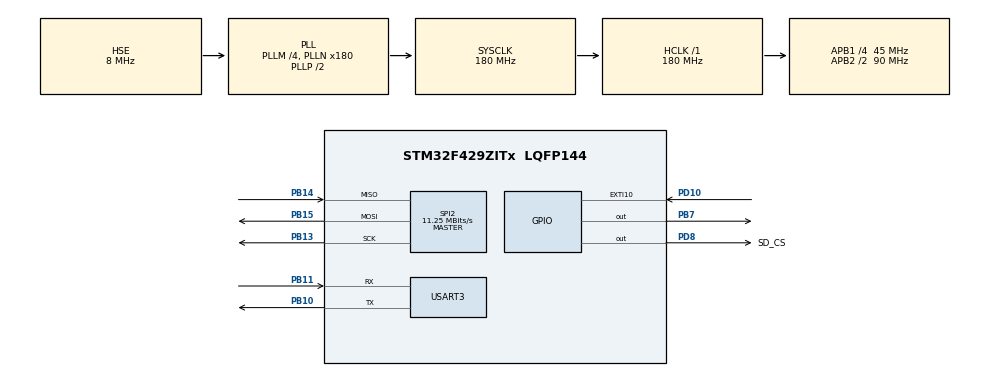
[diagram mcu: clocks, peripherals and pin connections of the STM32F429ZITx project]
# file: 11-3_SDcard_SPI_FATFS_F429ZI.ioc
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FATFS._MAX_SS=4096
FATFS._USE_LFN=1
Mcu.Family=STM32F4
Mcu.Name=STM32F429ZITx
Mcu.Package=LQFP144
NVIC.EXTI15_10_IRQn=true\:0\:0\:false\:false\:true\:true\:true
NVIC.PriorityGroup=NVIC_PRIORITYGROUP_4
NVIC.TIM7_IRQn=true\:0\:0\:false\:false\:true\:true\:true
NVIC.USART3_IRQn=true\:0\:0\:false\:false\:true\:true\:true
PB10.Mode=Asynchronous
PB10.Signal=USART3_TX
PB11.Mode=Asynchronous
PB11.Signal=USART3_RX
PB13.Mode=Full_Duplex_Master
PB13.Signal=SPI2_SCK
PB14.Mode=Full_Duplex_Master
PB14.Signal=SPI2_MISO
PB15.Mode=Full_Duplex_Master
PB15.Signal=SPI2_MOSI
PB7.Signal=GPIO_Output
PD10.GPIO_PuPd=GPIO_PULLUP
PD10.Signal=GPXTI10
PD8.GPIO_Label=SD_CS
PD8.GPIO_Speed=GPIO_SPEED_FREQ_MEDIUM
PD8.PinState=GPIO_PIN_SET
PD8.Signal=GPIO_Output
PH0/OSC_IN.Mode=HSE-External-Oscillator
PH0/OSC_IN.Signal=RCC_OSC_IN
PH1/OSC_OUT.Mode=HSE-External-Oscillator
PH1/OSC_OUT.Signal=RCC_OSC_OUT
ProjectManager.HeapSize=0x200
ProjectManager.StackSize=0x400
ProjectManager.TargetToolchain=STM32CubeIDE
RCC.48MHZClocksFreq_Value=45000000
RCC.AHBFreq_Value=180000000
RCC.APB1CLKDivider=RCC_HCLK_DIV4
RCC.APB1Freq_Value=45000000
RCC.APB1TimFreq_Value=90000000
RCC.APB2CLKDivider=RCC_HCLK_DIV2
RCC.APB2Freq_Value=90000000
RCC.APB2TimFreq_Value=180000000
RCC.CortexFreq_Value=180000000
RCC.HCLKFreq_Value=180000000
RCC.HSE_VALUE=8000000
RCC.HSI_VALUE=16000000
RCC.LSE_VALUE=32768
RCC.PLLM=4
RCC.PLLN=180
RCC.PLLQ=8
RCC.PLLSourceVirtual=RCC_PLLSOURCE_HSE
RCC.SYSCLKFreq_VALUE=180000000
RCC.SYSCLKSource=RCC_SYSCLKSOURCE_PLLCLK
RCC.VCOOutputFreq_Value=360000000
SPI2.BaudRatePrescaler=SPI_BAUDRATEPRESCALER_4
SPI2.CLKPolarity=SPI_POLARITY_LOW
SPI2.CalculateBaudRate=11.25 MBits/s
SPI2.Direction=SPI_DIRECTION_2LINES
SPI2.Mode=SPI_MODE_MASTER
SPI2.VirtualType=VM_MASTER
TIM7.AutoReloadPreload=TIM_AUTORELOAD_PRELOAD_ENABLE
TIM7.Period=9999
TIM7.Prescaler=8
USART3.VirtualMode=VM_ASYNC
VP_FATFS_VS_Generic.Mode=User_defined
VP_TIM7_VS_ClockSourceINT.Mode=Enable_Timer
board=custom

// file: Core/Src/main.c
/* USER CODE BEGIN Header */
/**
  ******************************************************************************
  * @file           : main.c
  * @brief          : Main program body
  ******************************************************************************
  * @attention
  *
  * Copyright (c) 2022 STMicroelectronics.
  * All rights reserved.
  *
  * This software is licensed under terms that can be found in the LICENSE file
  * in the root directory of this software component.
  * If no LICENSE file comes with this software, it is provided AS-IS.
  *
  ******************************************************************************
  */
/* USER CODE END Header */
#include "main.h"
#include "fatfs.h"
#include "spi.h"
#include "tim.h"
#include "usart.h"
#include "gpio.h"

/* USER CODE BEGIN Includes */
#include "fatfs_sd.h"
#include "stdio.h"
#include "string.h"
/* USER CODE END Includes */

/* USER CODE BEGIN PD */

SPI_HandleTypeDef hspi2;
FATFS fs;
FATFS *pfs;
FIL fil;
FRESULT fres;
DWORD fre_clust;
uint32_t totalSpace, freeSpace;
char buffer[100];
uint8_t str[50];

uint32_t bw, br;
volatile uint8_t closedFlag = 0;

//BYTE buf[32] = "Hello World";

/* USER CODE END PD */

void SystemClock_Config(void);
/* USER CODE BEGIN PFP */
int _write(int file, char* p, int len)
{
	if(HAL_UART_Transmit(&huart3, (uint8_t*)p, len, 10)==HAL_OK) return len;
	else return 0;
}
void _Error_Handler(char *file, int line);
void saveFile();
void MountSD(void);
void UnMountSD(void);
void OpenFile(char* fileName);
void CloseFile(void);
void CheckSize(void);
void WriteFile(char* fileName);
void ReadFile(char* fileName);
/* USER CODE END PFP */

int main(void)
{

  /* MCU Configuration--------------------------------------------------------*/

  /* Reset of all peripherals, Initializes the Flash interface and the Systick. */
  HAL_Init();

  /* Configure the system clock */
  SystemClock_Config();

  /* Initialize all configured peripherals */
  MX_GPIO_Init();
  MX_USART3_UART_Init();
  MX_FATFS_Init();
  MX_SPI2_Init();
  MX_TIM7_Init();
  /* USER CODE BEGIN 2 */

  /* Wait for SD module reset */
  HAL_Delay(1000);
  //saveFile();
  printf("-----------Start_Program------------\r\n");
  MountSD();
  CheckSize();
  char* fileName = "log-file.txt";
  OpenFile(fileName);
  char text[20] = "Write and Read!";

  WriteFile(text);
  //CloseFile();

  ReadFile(fileName);
  CloseFile();
  UnMountSD();
  printf("------------End_Program-------------\r\n");

//	uint16_t len = (uint16_t)strlen(text);
//	text[len] = '\r';
//	text[len+1] = '\n';
//	printf("TEXT : ");
//	HAL_UART_Transmit(&huart3, text, len+2, 50);

  /* USER CODE END 2 */

  /* Infinite loop */
  while (1)
  {

  }
}

void SystemClock_Config(void)
{
  RCC_OscInitTypeDef RCC_OscInitStruct = {0};
  RCC_ClkInitTypeDef RCC_ClkInitStruct = {0};

  /** Configure the main internal regulator output voltage
  */
  __HAL_RCC_PWR_CLK_ENABLE();
  __HAL_PWR_VOLTAGESCALING_CONFIG(PWR_REGULATOR_VOLTAGE_SCALE1);
  /** Initializes the RCC Oscillators according to the specified parameters
  * in the RCC_OscInitTypeDef structure.
  */
  RCC_OscInitStruct.OscillatorType = RCC_OSCILLATORTYPE_HSE;
  RCC_OscInitStruct.HSEState = RCC_HSE_ON;
  RCC_OscInitStruct.PLL.PLLState = RCC_PLL_ON;
  RCC_OscInitStruct.PLL.PLLSource = RCC_PLLSOURCE_HSE;
  RCC_OscInitStruct.PLL.PLLM = 4;
  RCC_OscInitStruct.PLL.PLLN = 180;
  RCC_OscInitStruct.PLL.PLLP = RCC_PLLP_DIV2;
  RCC_OscInitStruct.PLL.PLLQ = 8;
  if (HAL_RCC_OscConfig(&RCC_OscInitStruct) != HAL_OK)
  {
    Error_Handler();
  }
  /** Activate the Over-Drive mode
  */
  if (HAL_PWREx_EnableOverDrive() != HAL_OK)
  {
    Error_Handler();
  }
  /** Initializes the CPU, AHB and APB buses clocks
  */
  RCC_ClkInitStruct.ClockType = RCC_CLOCKTYPE_HCLK|RCC_CLOCKTYPE_SYSCLK
                              |RCC_CLOCKTYPE_PCLK1|RCC_CLOCKTYPE_PCLK2;
  RCC_ClkInitStruct.SYSCLKSource = RCC_SYSCLKSOURCE_PLLCLK;
  RCC_ClkInitStruct.AHBCLKDivider = RCC_SYSCLK_DIV1;
  RCC_ClkInitStruct.APB1CLKDivider = RCC_HCLK_DIV4;
  RCC_ClkInitStruct.APB2CLKDivider = RCC_HCLK_DIV2;

  if (HAL_RCC_ClockConfig(&RCC_ClkInitStruct, FLASH_LATENCY_5) != HAL_OK)
  {
    Error_Handler();
  }
}

/* USER CODE BEGIN 4 */

void MountSD(void)
{
	fres = f_mount(&fs, "", 0);
	if (fres == FR_OK) {
		printf("Micro SD card is mounted successfully!\r\n");
	} else if (fres != FR_OK) {
		printf("Micro SD card's mount error!\r\n");
	}
}

void UnMountSD(void)
{
	f_mount(NULL, "", 1);
	if (fres == FR_OK) {
		printf("The Micro SD card is unmounted!\r\n");
	} else if (fres != FR_OK) {
		printf("The Micro SD was not unmounted!\r\n");
	}
}

void OpenFile(char* fileName)
{
	fres = f_open(&fil, fileName, FA_OPEN_APPEND | FA_WRITE | FA_READ);
	if (fres == FR_OK) {
		printf("File opened for reading and writing!\r\n");
	} else if (fres != FR_OK) {
		printf("File was not opened for reading and writing!\r\n");
	}

	closedFlag = 0;
}

void CloseFile(void)
{
	fres = f_close(&fil);
	if (fres == FR_OK) {
		printf("The file is closed.\r\n");
	} else if (fres != FR_OK) {
		printf("The file was not closed.\r\n");
	}

	closedFlag = 1;
}

void CheckSize(void)
{

	fres = f_getfree("", &fre_clust, &pfs);
	totalSpace = (uint32_t) ((pfs->n_fatent - 2) * pfs->csize * 0.5);
	freeSpace = (uint32_t) (fre_clust * pfs->csize * 0.5);
	char mSz[100];
	sprintf(mSz, "%lu", freeSpace);	// lu
	if (fres == FR_OK) {
		printf("The free space is: ");
		printf(mSz);
		printf("\r\n");
	} else if (fres != FR_OK) {
		printf("The free space could not be determined!\r\n");
	}
}

void WriteFile(char* text)
{
	fres = f_lseek(&fil, 0);	// move cursor to initial position
	if (fres != FR_OK){
		printf("Can't move to initial position\r\n");
	}

	sprintf((char*)buffer, "%s\r\n", text);
	for (uint8_t i = 0; i < 3; i++) {
		fres = f_puts(buffer, &fil);
	}

//	sprintf((char*)buffer, "%s\r\n", text);
//	uint16_t length = (uint16_t)strlen(text) + 2;	                       // + \r\n
//	for (uint8_t i = 0; i < 3; i++) {
//		fres = f_write(&fil, buffer, length, (void*)&bw);
//	}

	//fres = f_write(&fil, buffer, sizeof(buffer), (void*)&bw);
	if(fres == FR_OK)
	{
		printf("Writing Complete\r\n");
		sprintf((char*)str, "%3d bytes Write", (int)bw);
		printf("%s\r\n", str);
	}
	else if(fres != FR_OK)
	{
		printf("Writing failed\r\n");
	}

}

void ReadFile(char* fileName)
{
	if (closedFlag == 0) CloseFile();

	fres = f_open(&fil, fileName, FA_READ);
	if (fres == FR_OK) {
		printf("File opened for reading.\r\n");
	} else if (fres != FR_OK) {
		printf("File was not opened for reading!\r\n");
	}

	//fres = f_read(&fil, buffer, sizeof(buffer), (void*)&br);
	//char mRd[100];

	while (f_gets(buffer, sizeof(buffer), &fil)) {
		char mRd[100];
		sprintf(mRd, "%s", buffer);
		printf(mRd);
	}

//	if (fres == FR_OK)
//	{
//		sprintf((char*)mRd, "%s", buffer);
//		printf("-----------READING_TEXT----------\r\n");
//		printf("%s", mRd);	// already existed \r\n
//		printf("-----------READING_TEXT---------\r\n");
//		sprintf((char*)str, "%3d bytes Read", (int)br);
//		printf("%s\r\n", str);
//
//	}
//	else if (fres != FR_OK || br == 0)
//	{
//		printf("Can't read~!\r\n");
//	}

}

void saveFile()
{
	/* Wait for SD module reset */
	HAL_Delay(1000);

	/* Waiting for the Micro SD module to initialize */
	HAL_Delay(500);

	fres = f_mount(&fs, "", 0);
	if (fres == FR_OK) {
		printf("Micro SD card is mounted successfully!\r\n");
	} else if (fres != FR_OK) {
		printf("Micro SD card's mount error!\r\n");
	}

	// FA_OPEN_APPEND opens file if it exists and if not then creates it,
	// the pointer is set at the end of the file for appending
	fres = f_open(&fil, "log-file.txt", FA_OPEN_APPEND | FA_WRITE | FA_READ);
	if (fres == FR_OK) {
		printf("File opened for reading and checking the free space.\r\n");
	} else if (fres != FR_OK) {
		printf("File was not opened for reading and checking the free space!\r\n");
	}

	// clust check -> freeSpace
	fres = f_getfree("", &fre_clust, &pfs);
	totalSpace = (uint32_t) ((pfs->n_fatent - 2) * pfs->csize * 0.5);
	freeSpace = (uint32_t) (fre_clust * pfs->csize * 0.5);
	char mSz[100];
	sprintf(mSz, "%lu", freeSpace);	// lu
	if (fres == FR_OK) {
		printf("The free space is: ");
		printf(mSz);
		printf("\r\n");
	} else if (fres != FR_OK) {
		printf("The free space could not be determined!\r\n");
	}

	// WRITE
	sprintf((char*)buffer, "File saved!\r\n");
	for (uint8_t i = 0; i < 10; i++) {
//		//f_puts("This text is written in the file.\r\n", &fil);
//		f_puts((char*)str, &fil);
		f_write(&fil, buffer, sizeof(buffer), (void*)&bw);
	}

	sprintf((char*)str, "%d bytes Write", (int)bw);
	printf("%s\r\n", str);

	// file closed
	fres = f_close(&fil);
	if (fres == FR_OK) {
		printf("The file is closed.\r\n");
	} else if (fres != FR_OK) {
		printf("The file was not closed.\r\n");
	}

	/* Open file to read */
	fres = f_open(&fil, "log-file.txt", FA_READ);
	if (fres == FR_OK) {
		printf("File opened for reading.\r\n");
	} else if (fres != FR_OK) {
		printf("File was not opened for reading!\r\n");
	}

//	while (f_gets(buffer, sizeof(buffer), &fil)) {
//		char mRd[100];
//		sprintf(mRd, "%s\r\n", buffer);
//		printf(mRd);
//	}

	char mRd[100];
    f_read(&fil, buffer, sizeof(buffer), (void*)&br);
    sprintf((char*)mRd, "%s", buffer);
    printf("%s", mRd);	// already existed \r\n

    sprintf((char*)str, "%d bytes Read", (int)br);
    printf("%s\r\n", str);

	/* Close file */
	fres = f_close(&fil);
	if (fres == FR_OK) {
		printf("The file is closed.\r\n");
	} else if (fres != FR_OK) {
		printf("The file was not closed.\r\n");
	}

	f_mount(NULL, "", 1);
	if (fres == FR_OK) {
		printf("The Micro SD card is unmounted!\r\n");
	} else if (fres != FR_OK) {
		printf("The Micro SD was not unmounted!\r\n");
	}
}

void SDtest(void)
{
	HAL_Delay(1000);
	printf("-----------Start_Program------------\r\n");
	MountSD();
	CheckSize();
	char* fileName = "log-file1.txt";
	OpenFile(fileName);
	char text[20] = "Write and Read!";

	WriteFile(text);
	CloseFile();

	ReadFile(fileName);
	CloseFile();
	UnMountSD();
	printf("------------End_Program-------------\r\n");
}

void _Error_Handler(char *file, int line)
{
	/* USER CODE BEGIN Error_Handler_Debug */
	/* User can add his own implementation to report the HAL error return state */
	while(1)
	{
	}
	/* USER CODE END Error_Handler_Debug */
}

void HAL_GPIO_EXTI_Callback(uint16_t GPIO_Pin)
{

	static uint32_t temp;
	if(GPIO_Pin == GPIO_PIN_10)	// PIN_3 Pressed
	{
		if(HAL_GetTick() - temp > 100){
			printf("%s\r\n", "PIN_10 Pressed");
			HAL_GPIO_TogglePin(GPIOB, GPIO_PIN_7);
			SDtest();
		}

		//while(HAL_GPIO_ReadPin(GPIOE, GPIO_PIN_3) == GPIO_PIN_RESET);
		while(HAL_GPIO_ReadPin(GPIOD, GPIO_PIN_10) == GPIO_PIN_RESET){
			//printf("%s\r\n", "wait for reset");
		}	// button -> 0
		temp = HAL_GetTick();	// check last time
	}

}

/* USER CODE END 4 */

void Error_Handler(void)
{
  __disable_irq();
  while (1)
  {
  }
}
